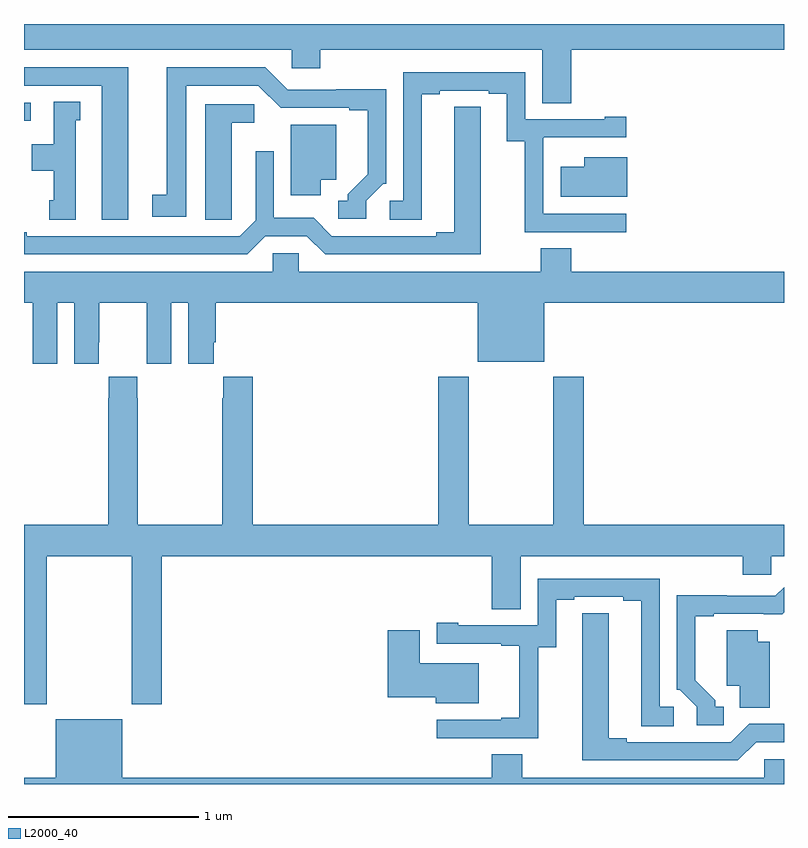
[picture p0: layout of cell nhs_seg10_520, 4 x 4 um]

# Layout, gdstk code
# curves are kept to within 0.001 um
import gdstk
lib = gdstk.Library(unit=1e-6, precision=1e-09)
def R(c, l, rs):  # rectangles x0, y0, x1, y1
    for r in rs: c.add(gdstk.rectangle(r[:2], r[2:], *l))
def P(c, l, *ps):  # polygons
    for p in ps: c.add(gdstk.Polygon(p, *l))
L2000_40 = (2000, 40)

nhs_seg10_520 = lib.new_cell('nhs_seg10_520')
R(nhs_seg10_520, L2000_40, [(137,1251.99,137.035,1252.086)])
P(nhs_seg10_520, L2000_40, [(139.88,1252.364),(141,1252.364),(141,1252.5),(137,1252.5),(137,1252.364),(138.408,1252.364),(138.408,1252.266),(138.56,1252.266),(138.56,1252.364),(139.727,1252.364),(139.727,1252.084),(139.88,1252.084)],
  [(137.548,1252.272),(137,1252.272),(137,1252.176),(137.408,1252.176),(137.408,1251.471),(137.548,1251.471)],
  [(138.801,1251.57),(138.891,1251.66),(138.906,1251.66),(138.906,1252.157),(138.643,1252.157),(138.643,1252.155),(138.387,1252.155),(138.27,1252.272),(137.75,1252.272),(137.75,1251.602),(137.676,1251.602),(137.676,1251.486),(137.854,1251.486),(137.854,1252.176),(138.234,1252.176),(138.351,1252.059),(138.713,1252.059),(138.713,1252.047),(138.809,1252.047),(138.809,1251.71),(138.704,1251.605),(138.704,1251.57),(138.654,1251.57),(138.654,1251.474),(138.801,1251.474)],
  [(140.17,1251.501),(139.734,1251.501),(139.734,1251.902),(139.736,1251.902),(139.736,1251.903),(140.17,1251.903),(140.17,1252.012),(140.057,1252.012),(140.057,1251.999),(139.638,1251.999),(139.638,1252.245),(138.996,1252.245),(138.996,1251.57),(138.924,1251.57),(138.924,1251.469),(139.093,1251.469),(139.093,1252.129),(139.189,1252.129),(139.189,1252.149),(139.445,1252.149),(139.445,1252.134),(139.541,1252.134),(139.541,1251.883),(139.636,1251.883),(139.636,1251.405),(140.17,1251.405)],
  [(137.272,1251.993),(137.296,1251.993),(137.296,1252.091),(137.156,1252.091),(137.156,1251.868),(137.042,1251.868),(137.042,1251.728),(137.156,1251.728),(137.156,1251.573),(137.132,1251.573),(137.132,1251.471),(137.272,1251.471)],
  [(138.093,1251.577),(138.094,1251.577),(138.094,1251.98),(138.211,1251.98),(138.211,1252.077),(137.954,1252.077),(137.954,1251.469),(138.093,1251.469)],
  [(138.271,1251.384),(138.489,1251.384),(138.585,1251.288),(139.405,1251.288),(139.404,1252.064),(139.265,1252.064),(139.265,1251.404),(139.169,1251.404),(139.169,1251.384),(138.621,1251.384),(138.525,1251.48),(138.315,1251.48),(138.315,1251.829),(138.219,1251.829),(138.219,1251.468),(138.135,1251.384),(137.014,1251.384),(137.014,1251.404),(137,1251.404),(137,1251.288),(138.175,1251.288)],
  [(138.562,1251.68),(138.643,1251.68),(138.643,1251.97),(138.404,1251.97),(138.404,1251.6),(138.562,1251.6)],
  [(140.176,1251.799),(139.949,1251.799),(139.949,1251.748),(139.824,1251.748),(139.824,1251.59),(140.176,1251.59)],
  [(137.176,1251.032),(137.264,1251.032),(137.264,1250.712),(137.394,1250.712),(137.394,1250.824),(137.395,1250.824),(137.395,1251.032),(137.645,1251.032),(137.645,1250.824),(137.646,1250.824),(137.646,1250.712),(137.776,1250.712),(137.776,1251.032),(137.864,1251.032),(137.864,1250.712),(137.998,1250.712),(137.998,1250.824),(138.008,1250.824),(138.008,1251.032),(139.388,1251.032),(139.388,1250.723),(139.738,1250.723),(139.738,1251.032),(141,1251.032),(141,1251.196),(139.88,1251.196),(139.88,1251.32),(139.72,1251.32),(139.72,1251.196),(138.447,1251.196),(138.447,1251.294),(138.309,1251.294),(138.309,1251.196),(137,1251.196),(137,1251.032),(137.045,1251.032),(137.045,1250.824),(137.046,1250.824),(137.046,1250.712),(137.176,1250.712)],
  [(137.121,1249.7),(137.566,1249.7),(137.566,1248.921),(137.726,1248.921),(137.726,1249.7),(139.463,1249.7),(139.463,1249.42),(139.615,1249.42),(139.615,1249.7),(140.783,1249.7),(140.783,1249.602),(140.934,1249.602),(140.934,1249.7),(141,1249.7),(141,1249.864),(139.946,1249.864),(139.946,1250.644),(139.786,1250.644),(139.786,1249.864),(139.341,1249.864),(139.341,1250.644),(139.181,1250.644),(139.181,1249.864),(138.203,1249.864),(138.203,1250.644),(138.049,1250.644),(138.049,1250.531),(138.043,1250.531),(138.043,1249.864),(137.598,1249.864),(137.598,1250.531),(137.595,1250.531),(137.595,1250.644),(137.445,1250.644),(137.445,1250.531),(137.443,1250.531),(137.443,1249.864),(137,1249.864),(137,1248.921),(137.121,1248.921)],
  [(139.707,1249.219),(139.801,1249.219),(139.801,1249.47),(139.897,1249.47),(139.897,1249.485),(140.153,1249.485),(140.153,1249.465),(140.249,1249.465),(140.249,1248.805),(140.419,1248.805),(140.419,1248.906),(140.346,1248.906),(140.346,1249.581),(139.704,1249.581),(139.704,1249.335),(139.285,1249.335),(139.285,1249.348),(139.173,1249.348),(139.173,1249.239),(139.511,1249.239),(139.511,1249.227),(139.607,1249.227),(139.607,1248.85),(139.511,1248.85),(139.511,1248.837),(139.173,1248.837),(139.173,1248.741),(139.707,1248.741)],
  [(140.683,1248.906),(140.638,1248.906),(140.638,1248.941),(140.533,1249.046),(140.533,1249.383),(140.629,1249.383),(140.629,1249.395),(140.99,1249.394),(141,1249.404),(141,1249.536),(140.955,1249.491),(140.699,1249.491),(140.699,1249.493),(140.436,1249.493),(140.436,1248.996),(140.451,1248.996),(140.541,1248.906),(140.541,1248.81),(140.683,1248.81)],
  [(140.853,1248.72),(141,1248.72),(141,1248.816),(140.817,1248.816),(140.721,1248.72),(140.173,1248.72),(140.173,1248.74),(140.077,1248.74),(140.077,1249.4),(139.938,1249.4),(139.937,1248.624),(140.757,1248.624)],
  [(140.926,1249.249),(140.863,1249.249),(140.863,1249.31),(140.699,1249.31),(140.699,1249.016),(140.768,1249.016),(140.768,1248.901),(140.926,1248.901)],
  [(139.393,1249.135),(139.084,1249.135),(139.084,1249.309),(138.914,1249.309),(138.914,1248.956),(139.166,1248.956),(139.166,1248.926),(139.393,1248.926)],
  [(141,1248.63),(140.895,1248.63),(140.895,1248.532),(139.623,1248.532),(139.623,1248.656),(139.463,1248.656),(139.463,1248.532),(137.518,1248.532),(137.518,1248.841),(137.168,1248.841),(137.168,1248.532),(137,1248.532),(137,1248.5),(141,1248.5)])

lib.write_gds('nhs_seg10_520.gds')
